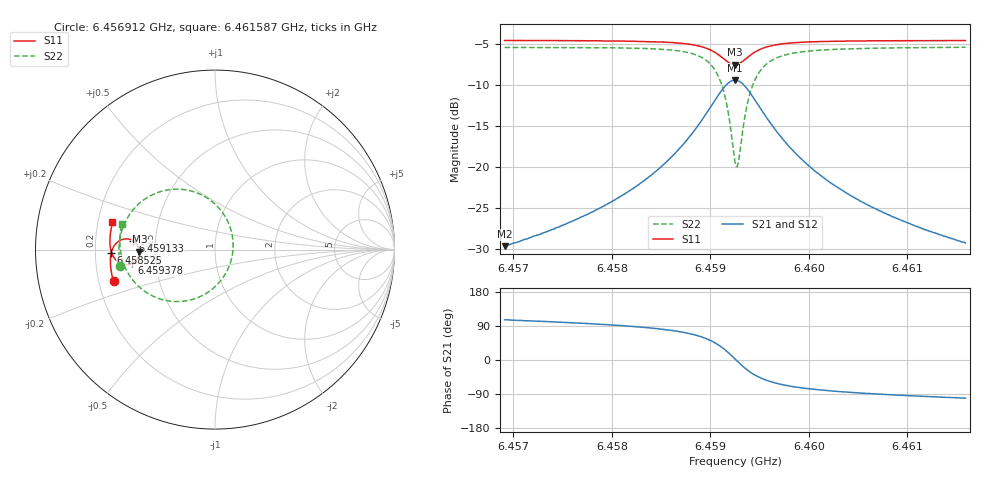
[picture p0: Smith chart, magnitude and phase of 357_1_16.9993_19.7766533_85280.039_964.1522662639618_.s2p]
#  HZ  S  RI  R  50.00
! Rohde & Schwarz Vector Network Analyzer
! Rohde-Schwarz,ZNB20-2Port,1311601062101988,3.16
! Created: UTC 3/20/2024, 11:08:04 PM
! freq[Hz]  re:S11  im:S11  re:S21  im:S21  re:S12  im:S12  re:S22  im:S22
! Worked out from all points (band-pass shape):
!   401 points, 6.456912 GHz to 6.461587 GHz, reference 50 ohm
!   highest |S21| = -9.39 dB at 6.45925 GHz (marker M1); lowest = -29.6 dB at 6.456912 GHz (marker M2)
!   |S21| within 3 dB of the highest: 6.459016 GHz to 6.459484 GHz (467.3 kHz wide, 0.00723 % of centre)
!   lowest |S11| = -7.5 dB at 6.45925 GHz (marker M3), VSWR 2.45, Z = 20.4 - j0.578 ohm
!   |S11| at or under -10 dB: nowhere
!   |S22| runs from -19.9 to -5.4 dB; largest |S21 - S12| = 0.013
!   S11 on the Smith chart (normalised r, x): 6.456912 GHz: 0.26, -0.14; 6.458525 GHz: 0.27, -0.01; 6.459133 GHz: 0.37, +0.05; 6.459378 GHz: 0.36, -0.07; 6.461587 GHz: 0.26, +0.12
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6.4569123e9  -0.565 -0.1773  -0.00909 0.0317  -0.00743 0.0317  -0.5291 -0.0899
6.4576954e9  -0.5798 -0.1092  -0.006 0.0494  -0.00348 0.0488  -0.5356 9.81e-05
6.4581278e9  -0.5832 -0.0663  -0.000292 0.0685  0.00295 0.0672  -0.5285 0.0674
6.4584785e9  -0.5798 -0.0247  0.0132 0.097  0.0171 0.0942  -0.5042 0.1446
6.4585252e9  -0.5784 -0.0184  0.0166 0.1024  0.0206 0.0994  -0.498 0.1576
6.4587356e9  -0.5665 0.0133  0.042 0.1335  0.0462 0.129  -0.4505 0.2287
6.4588876e9  -0.5457 0.0396  0.0838 0.1636  0.0871 0.1572  -0.3736 0.2925
6.4590395e9  -0.5004 0.0594  0.1741 0.1827  0.1749 0.1753  -0.209 0.3369
6.459133e9  -0.4565 0.0497  0.2625 0.1526  0.2628 0.1466  -0.0456 0.289
6.4591798e9  -0.4356 0.0314  0.3055 0.1107  0.3066 0.1055  0.0362 0.2146
6.4592499e9  -0.4209 -0.0117  0.3388 0.0158  0.3421 0.00914  0.1009 0.039
6.4592616e9  -0.4212 -0.0196  0.3387 -0.00161  0.3422 -0.00908  0.1007 0.0063
6.459285e9  -0.4247 -0.0349  0.3334 -0.0357  0.3369 -0.0446  0.0904 -0.0583
6.4593317e9  -0.4399 -0.0605  0.3057 -0.0947  0.3076 -0.1063  0.0348 -0.1695
6.4593785e9  -0.4614 -0.0765  0.2647 -0.1352  0.2638 -0.148  -0.048 -0.2432
6.459472e9  -0.5041 -0.0832  0.1815 -0.1664  0.1756 -0.1774  -0.2131 -0.2894
6.4596239e9  -0.5473 -0.0627  0.0952 -0.1532  0.087 -0.1592  -0.3773 -0.2421
6.4597875e9  -0.5686 -0.0353  0.051 -0.126  0.0436 -0.1288  -0.4568 -0.1716
6.460033e9  -0.5811 0.00024  0.0223 -0.0953  0.0166 -0.0959  -0.5043 -0.0906
6.4603953e9  -0.5856 0.0427  0.00611 -0.0684  0.00205 -0.0679  -0.526 -0.0103
6.4608161e9  -0.5836 0.0846  -0.00125 -0.0509  -0.00408 -0.0501  -0.5298 0.0553
6.4615875e9  -0.5711 0.1527  -0.00637 -0.0339  -0.00805 -0.033  -0.5184 0.1452
